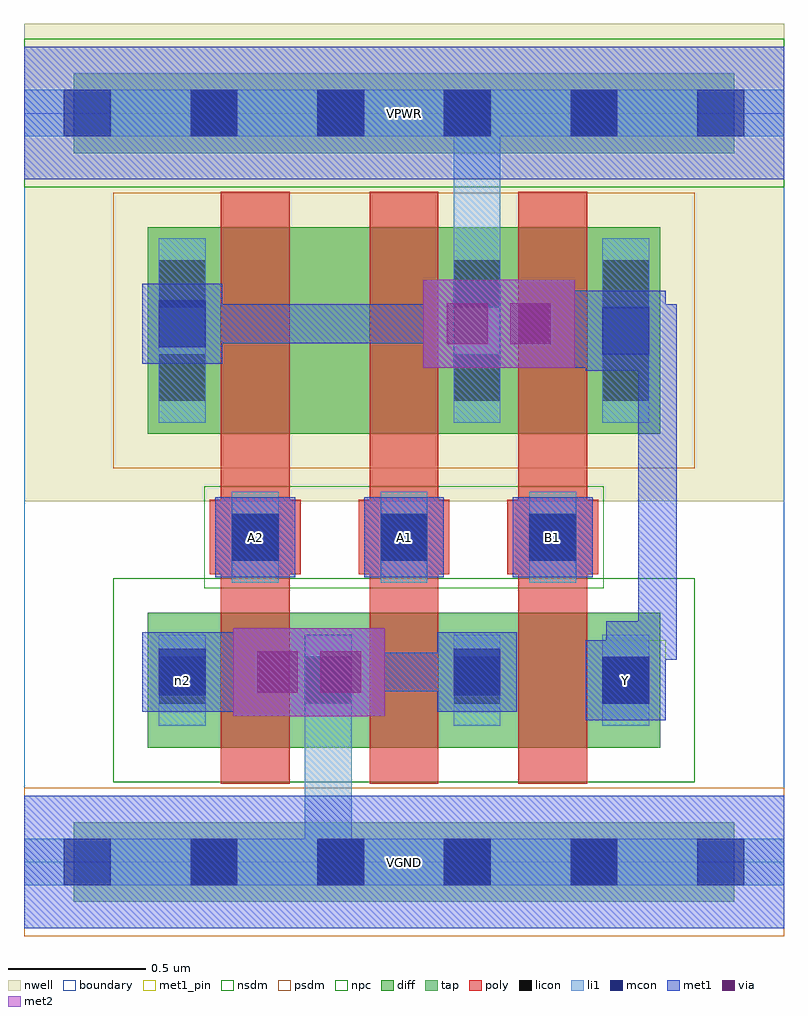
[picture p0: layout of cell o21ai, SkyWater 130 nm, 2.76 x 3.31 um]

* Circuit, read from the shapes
.subckt o21ai A1 A2 B1 VGND VPWR Y n2
XM1 VGND A2 n2 VGND sky130_fd_pr__nfet_01v8 w=0.49 l=0.25
XM2 n2 A1 VGND VGND sky130_fd_pr__nfet_01v8 w=0.49 l=0.25
XM3 Y B1 n2 VGND sky130_fd_pr__nfet_01v8 w=0.49 l=0.25
XM4 n1 A2 Y VPWR sky130_fd_pr__pfet_01v8 w=0.75 l=0.25
XM5 VPWR A1 n1 VPWR sky130_fd_pr__pfet_01v8 w=0.75 l=0.25
XM6 Y B1 VPWR VPWR sky130_fd_pr__pfet_01v8 w=0.75 l=0.25
.ends

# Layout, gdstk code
import gdstk
lib = gdstk.Library(unit=1e-6, precision=1e-09)
def R(c, l, rs):  # rectangles x0, y0, x1, y1
    for r in rs: c.add(gdstk.rectangle(r[:2], r[2:], *l))
def A(c, l, x, y, w, h, nx, ny, dx, dy):  # array of equal rectangles
    R(c, l, [(x+i*dx, y+j*dy, x+i*dx+w, y+j*dy+h) for i in range(nx) for j in range(ny)])
nwell = (64, 20)
diff = (65, 20)
tap = (65, 44)
poly = (66, 20)
licon = (66, 44)
li1 = (67, 20)
mcon = (67, 44)
met1_pin = (68, 16)
met1 = (68, 20)
via = (68, 44)
met2 = (69, 20)
nsdm = (93, 44)
psdm = (94, 20)
npc = (95, 20)
boundary = (235, 4)

o21ai = lib.new_cell('o21ai')
R(o21ai, nwell, [(0,1.31,2.76,3.045)])
R(o21ai, diff, [(0.45,0.415,2.31,0.905), (0.45,1.555,2.31,2.305)])
R(o21ai, tap, [(0.18,-0.145,2.58,0.145), (0.18,2.575,2.58,2.865)])
A(o21ai, poly, 0.715, 0.285, 0.25, 2.15, 3, 1, 0.54, 0)
A(o21ai, poly, 0.675, 1.045, 0.33, 0.27, 3, 1, 0.54, 0)
A(o21ai, licon, 0.605, -0.085, 0.17, 0.17, 4, 2, 0.46, 2.72)
A(o21ai, licon, 1.02, 0.575, 0.17, 0.17, 3, 1, 0.54, 0)
A(o21ai, licon, 0.755, 1.095, 0.17, 0.17, 3, 1, 0.54, 0)
R(o21ai, licon, [(0.49,0.575,0.66,0.745), (0.49,1.675,0.66,1.845), (1.56,1.675,1.73,1.845), (2.1,1.675,2.27,1.845), (0.49,2.015,0.66,2.185), (1.56,2.015,1.73,2.185), (2.1,2.015,2.27,2.185)])
A(o21ai, li1, 1.02, 0.495, 0.17, 0.33, 3, 1, 0.54, 0)
A(o21ai, li1, 0.755, 1.015, 0.17, 0.33, 3, 1, 0.54, 0)
R(o21ai, li1, [(0,-0.085,2.76,0.085), (1.02,-0.085,1.19,0.825), (0.49,0.495,0.66,0.825), (0.49,1.595,0.66,2.265), (1.56,1.595,1.73,2.265), (1.56,1.595,1.73,2.805), (2.1,1.595,2.27,2.265), (0,2.635,2.76,2.805)])
A(o21ai, mcon, 0.145, -0.085, 0.17, 0.17, 6, 2, 0.46, 2.72)
A(o21ai, mcon, 0.755, 1.095, 0.17, 0.17, 3, 1, 0.54, 0)
R(o21ai, mcon, [(2.1,0.575,2.27,0.745), (0.49,0.605,0.66,0.775), (1.56,0.605,1.73,0.775), (2.1,1.845,2.27,2.015), (0.49,1.87,0.66,2.04)])
A(o21ai, met1_pin, 0.695, 1.035, 0.29, 0.29, 3, 1, 0.54, 0)
R(o21ai, met1_pin, [(0,-0.24,2.76,0.24), (2.04,0.515,2.33,0.805), (0,2.48,2.76,2.96)])
A(o21ai, met1, 0.695, 1.035, 0.29, 0.29, 3, 1, 0.54, 0)
R(o21ai, met1, [(0,-0.24,2.76,0.24), (2.04,0.515,2.33,0.805), (0.76,0.53,1.08,0.85), (0.99,0.53,1.31,0.85), (0.43,0.545,0.72,0.835), (0.72,0.545,0.76,0.835), (1.5,0.545,1.79,0.835), (0.505,0.62,0.99,0.76), (1.08,0.62,1.565,0.76), (1.425,0.62,1.715,0.76), (2.115,0.62,2.255,0.76), (2.115,0.62,2.255,0.875), (2.115,0.735,2.37,0.875), (2.23,0.735,2.37,2.025), (2.04,1.785,2.33,2.075), (1.45,1.795,1.77,2.115), (1.68,1.795,2,2.115), (2,1.795,2.04,2.075), (0.43,1.81,0.72,2.1), (0.505,1.885,1.68,2.025), (1.77,1.885,2.255,2.025), (2.115,1.885,2.255,2.025), (2.115,1.885,2.37,2.025), (0,2.48,2.76,2.96)])
R(o21ai, via, [(0.845,0.615,0.995,0.765), (1.075,0.615,1.225,0.765), (1.535,1.88,1.685,2.03), (1.765,1.88,1.915,2.03)])
R(o21ai, met2, [(0.76,0.53,1.08,0.85), (0.99,0.53,1.31,0.85), (0.85,0.62,1.22,0.76), (1.45,1.795,1.77,2.115), (1.68,1.795,2,2.115), (1.54,1.885,1.91,2.025)])
R(o21ai, nsdm, [(0.325,0.29,2.435,1.03), (0,2.45,2.76,2.99)])
R(o21ai, psdm, [(0,-0.27,2.76,0.27), (0.325,1.43,2.435,2.43)])
R(o21ai, npc, [(0.655,0.995,2.105,1.365)])
R(o21ai, boundary, [(0,0,2.76,2.72)])
o21ai.add(gdstk.Label('n2', (0.575,0.66), layer=67, texttype=5))
o21ai.add(gdstk.Label('A1', (1.38,1.18), layer=68, texttype=5))
o21ai.add(gdstk.Label('A2', (0.84,1.18), layer=68, texttype=5))
o21ai.add(gdstk.Label('B1', (1.92,1.18), layer=68, texttype=5))
o21ai.add(gdstk.Label('Y', (2.185,0.66), layer=68, texttype=5))
o21ai.add(gdstk.Label('VPWR', (1.38,2.72), layer=68, texttype=5))
o21ai.add(gdstk.Label('VGND', (1.38,0), layer=68, texttype=5))
o21ai.add(gdstk.Label('A1', (1.38,1.18), layer=68, texttype=16))
o21ai.add(gdstk.Label('A2', (0.84,1.18), layer=68, texttype=16))
o21ai.add(gdstk.Label('B1', (1.92,1.18), layer=68, texttype=16))
o21ai.add(gdstk.Label('Y', (2.185,0.66), layer=68, texttype=16))
o21ai.add(gdstk.Label('VPWR', (1.38,2.72), layer=68, texttype=16))
o21ai.add(gdstk.Label('VGND', (1.38,0), layer=68, texttype=16))

lib.write_gds('o21ai.gds')
